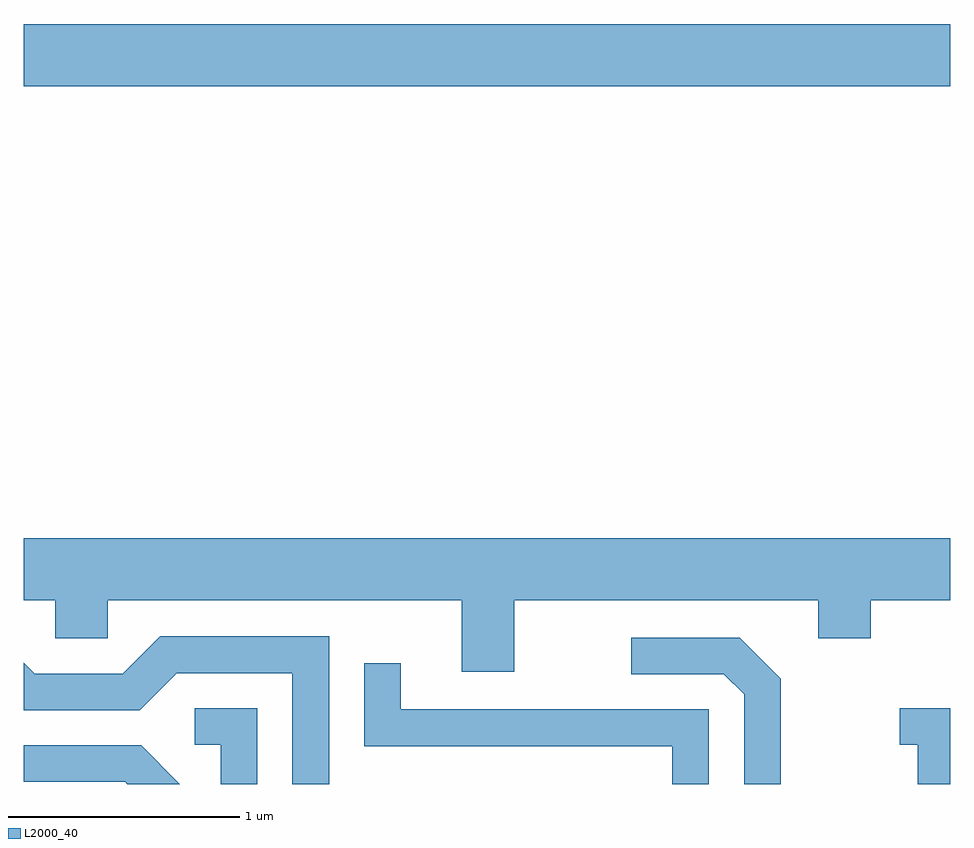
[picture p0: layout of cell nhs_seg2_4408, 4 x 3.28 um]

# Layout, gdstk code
import gdstk
lib = gdstk.Library(unit=1e-6, precision=1e-09)
def R(c, l, rs):  # rectangles x0, y0, x1, y1
    for r in rs: c.add(gdstk.rectangle(r[:2], r[2:], *l))
def P(c, l, *ps):  # polygons
    for p in ps: c.add(gdstk.Polygon(p, *l))
L2000_40 = (2000, 40)

nhs_seg2_4408 = lib.new_cell('nhs_seg2_4408')
R(nhs_seg2_4408, L2000_40, [(315.611,992.816,319.611,993.084)])
P(nhs_seg2_4408, L2000_40, [(317.729,990.596),(319.041,990.596),(319.041,990.431),(319.269,990.431),(319.269,990.596),(319.611,990.596),(319.611,990.864),(315.611,990.864),(315.611,990.596),(315.746,990.596),(315.746,990.431),(315.974,990.431),(315.974,990.596),(317.501,990.596),(317.501,990.286),(317.729,990.286)],
  [(316.929,990.439),(316.199,990.439),(316.039,990.279),(315.657,990.279),(315.611,990.325),(315.611,990.121),(316.112,990.121),(316.272,990.281),(316.771,990.281),(316.771,989.802),(316.929,989.802)],
  [(318.879,990.257),(318.702,990.434),(318.233,990.434),(318.233,990.276),(318.634,990.276),(318.721,990.189),(318.721,989.802),(318.879,989.802)],
  [(318.569,990.124),(317.239,990.124),(317.239,990.323),(317.081,990.323),(317.081,989.966),(318.411,989.966),(318.411,989.802),(318.569,989.802)],
  [(316.619,990.129),(316.348,990.129),(316.348,989.971),(316.461,989.971),(316.461,989.802),(316.619,989.802)],
  [(319.611,990.129),(319.393,990.129),(319.393,989.971),(319.471,989.971),(319.471,989.802),(319.611,989.802)],
  [(316.117,989.969),(315.611,989.969),(315.611,989.811),(316.049,989.811),(316.058,989.802),(316.284,989.802)])

lib.write_gds('nhs_seg2_4408.gds')
